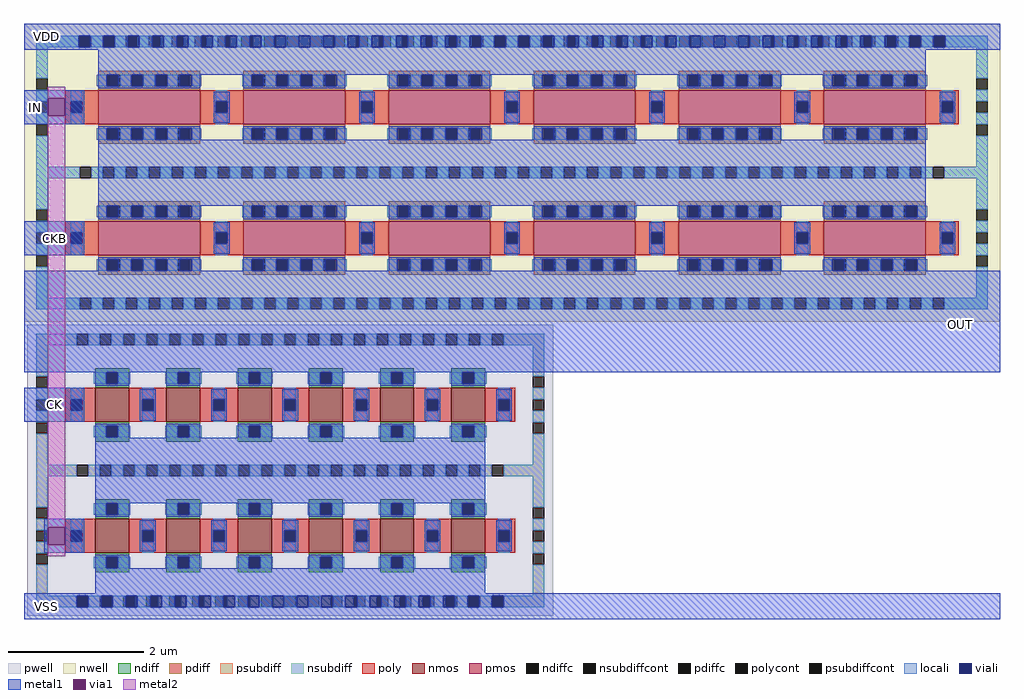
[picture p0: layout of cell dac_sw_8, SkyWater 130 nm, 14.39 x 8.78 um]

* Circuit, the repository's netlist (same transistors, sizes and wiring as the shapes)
** sch_path: /home/mthudaa/vlsi/8bit_SAR-ADC_ITS/xschem/dac_sw_8.sch
.subckt dac_sw_8 vdd in ck ckb vss out
*.PININFO vdd:I in:I ck:I ckb:I vss:I out:O
XM1 net1 in vdd vdd sky130_fd_pr__pfet_01v8 L=0.5 W=1.5 nf=1 m=6
XM2 out ckb net1 vdd sky130_fd_pr__pfet_01v8 L=0.5 W=1.5 nf=1 m=6
XM3 out ck net2 vss sky130_fd_pr__nfet_01v8 L=0.5 W=0.5 nf=1 m=6
XM4 net2 in vss vss sky130_fd_pr__nfet_01v8 L=0.5 W=0.5 nf=1 m=6
.ends
.end

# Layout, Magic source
magic
tech sky130A
magscale 1 2
<< locali >>
rect 238 1527 268 1561
rect 302 1527 340 1561
rect 374 1527 412 1561
rect 446 1527 484 1561
rect 518 1527 556 1561
rect 590 1527 628 1561
rect 662 1527 700 1561
rect 734 1527 772 1561
rect 806 1527 844 1561
rect 878 1527 916 1561
rect 950 1527 988 1561
rect 1022 1527 1060 1561
rect 1094 1527 1132 1561
rect 1166 1527 1204 1561
rect 1238 1527 1276 1561
rect 1310 1527 1348 1561
rect 1382 1527 1420 1561
rect 1454 1527 1492 1561
rect 1526 1527 1564 1561
rect 1598 1527 1636 1561
rect 1670 1527 1708 1561
rect 1742 1527 1780 1561
rect 1814 1527 1852 1561
rect 1886 1527 1924 1561
rect 1958 1527 1996 1561
rect 2030 1527 2068 1561
rect 2102 1527 2140 1561
rect 2174 1527 2212 1561
rect 2246 1527 2284 1561
rect 2318 1527 2356 1561
rect 2390 1527 2428 1561
rect 2462 1527 2500 1561
rect 2534 1527 2572 1561
rect 2606 1527 2644 1561
rect 2678 1527 2716 1561
rect 2750 1527 2788 1561
rect 2822 1527 2852 1561
rect 238 -123 262 -89
rect 296 -123 334 -89
rect 368 -123 406 -89
rect 440 -123 478 -89
rect 512 -123 550 -89
rect 584 -123 622 -89
rect 656 -123 694 -89
rect 728 -123 766 -89
rect 800 -123 838 -89
rect 872 -123 910 -89
rect 944 -123 982 -89
rect 1016 -123 1054 -89
rect 1088 -123 1126 -89
rect 1160 -123 1198 -89
rect 1232 -123 1270 -89
rect 1304 -123 1342 -89
rect 1376 -123 1414 -89
rect 1448 -123 1486 -89
rect 1520 -123 1544 -89
<< viali >>
rect 268 1527 302 1561
rect 340 1527 374 1561
rect 412 1527 446 1561
rect 484 1527 518 1561
rect 556 1527 590 1561
rect 628 1527 662 1561
rect 700 1527 734 1561
rect 772 1527 806 1561
rect 844 1527 878 1561
rect 916 1527 950 1561
rect 988 1527 1022 1561
rect 1060 1527 1094 1561
rect 1132 1527 1166 1561
rect 1204 1527 1238 1561
rect 1276 1527 1310 1561
rect 1348 1527 1382 1561
rect 1420 1527 1454 1561
rect 1492 1527 1526 1561
rect 1564 1527 1598 1561
rect 1636 1527 1670 1561
rect 1708 1527 1742 1561
rect 1780 1527 1814 1561
rect 1852 1527 1886 1561
rect 1924 1527 1958 1561
rect 1996 1527 2030 1561
rect 2068 1527 2102 1561
rect 2140 1527 2174 1561
rect 2212 1527 2246 1561
rect 2284 1527 2318 1561
rect 2356 1527 2390 1561
rect 2428 1527 2462 1561
rect 2500 1527 2534 1561
rect 2572 1527 2606 1561
rect 2644 1527 2678 1561
rect 2716 1527 2750 1561
rect 2788 1527 2822 1561
rect 262 -123 296 -89
rect 334 -123 368 -89
rect 406 -123 440 -89
rect 478 -123 512 -89
rect 550 -123 584 -89
rect 622 -123 656 -89
rect 694 -123 728 -89
rect 766 -123 800 -89
rect 838 -123 872 -89
rect 910 -123 944 -89
rect 982 -123 1016 -89
rect 1054 -123 1088 -89
rect 1126 -123 1160 -89
rect 1198 -123 1232 -89
rect 1270 -123 1304 -89
rect 1342 -123 1376 -89
rect 1414 -123 1448 -89
rect 1486 -123 1520 -89
<< metal1 >>
rect 106 1561 2984 1597
rect 106 1527 268 1561
rect 302 1527 340 1561
rect 374 1527 412 1561
rect 446 1527 484 1561
rect 518 1527 556 1561
rect 590 1527 628 1561
rect 662 1527 700 1561
rect 734 1527 772 1561
rect 806 1527 844 1561
rect 878 1527 916 1561
rect 950 1527 988 1561
rect 1022 1527 1060 1561
rect 1094 1527 1132 1561
rect 1166 1527 1204 1561
rect 1238 1527 1276 1561
rect 1310 1527 1348 1561
rect 1382 1527 1420 1561
rect 1454 1527 1492 1561
rect 1526 1527 1564 1561
rect 1598 1527 1636 1561
rect 1670 1527 1708 1561
rect 1742 1527 1780 1561
rect 1814 1527 1852 1561
rect 1886 1527 1924 1561
rect 1958 1527 1996 1561
rect 2030 1527 2068 1561
rect 2102 1527 2140 1561
rect 2174 1527 2212 1561
rect 2246 1527 2284 1561
rect 2318 1527 2356 1561
rect 2390 1527 2428 1561
rect 2462 1527 2500 1561
rect 2534 1527 2572 1561
rect 2606 1527 2644 1561
rect 2678 1527 2716 1561
rect 2750 1527 2788 1561
rect 2822 1527 2984 1561
rect 106 1521 2984 1527
rect 325 1447 2765 1521
rect 106 1377 284 1401
rect 106 1325 176 1377
rect 228 1325 284 1377
rect 106 1301 284 1325
rect 325 1061 2765 1255
rect 106 915 284 1015
rect 106 569 2984 869
rect 106 423 284 523
rect 316 183 1466 376
rect 166 113 284 137
rect 166 61 176 113
rect 228 61 284 113
rect 166 37 284 61
rect 316 -83 1466 -9
rect 106 -89 2984 -83
rect 106 -123 262 -89
rect 296 -123 334 -89
rect 368 -123 406 -89
rect 440 -123 478 -89
rect 512 -123 550 -89
rect 584 -123 622 -89
rect 656 -123 694 -89
rect 728 -123 766 -89
rect 800 -123 838 -89
rect 872 -123 910 -89
rect 944 -123 982 -89
rect 1016 -123 1054 -89
rect 1088 -123 1126 -89
rect 1160 -123 1198 -89
rect 1232 -123 1270 -89
rect 1304 -123 1342 -89
rect 1376 -123 1414 -89
rect 1448 -123 1486 -89
rect 1520 -123 2984 -89
rect 106 -159 2984 -123
<< via1 >>
rect 176 1325 228 1377
rect 176 61 228 113
<< metal2 >>
rect 176 1377 228 1411
rect 176 113 228 1325
rect 176 27 228 61
use sky130_fd_pr__nfet_01v8_54GLWN  sky130_fd_pr__nfet_01v8_54GLWN_0
transform 0 1 891 -1 0 87
box -236 -775 236 775
use sky130_fd_pr__pfet_01v8_NMY8JJ  sky130_fd_pr__pfet_01v8_NMY8JJ_0
transform 0 1 1545 -1 0 965
box -246 -1439 246 1439
use sky130_fd_pr__pfet_01v8_NMY8JJ  XM1
transform 0 1 1545 -1 0 1351
box -246 -1439 246 1439
use sky130_fd_pr__nfet_01v8_54GLWN  XM3
transform 0 1 891 -1 0 473
box -236 -775 236 775
<< labels >>
flabel metal1 s 106 1521 238 1597 0 FreeSans 500 0 0 0 VDD
port 1 nsew
flabel metal1 s 106 1301 176 1401 0 FreeSans 500 0 0 0 IN
port 2 nsew
flabel metal1 s 106 915 284 1015 0 FreeSans 500 0 0 0 CKB
port 3 nsew
flabel metal1 s 106 423 284 523 0 FreeSans 500 0 0 0 CK
port 4 nsew
flabel metal1 s 106 -159 238 -83 0 FreeSans 500 0 0 0 VSS
port 5 nsew
flabel metal1 s 2802 673 2934 749 0 FreeSans 500 0 0 0 OUT
port 6 nsew
<< end >>

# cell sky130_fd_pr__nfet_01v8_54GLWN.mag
magic
tech sky130A
magscale 1 2
<< pwell >>
rect -236 -775 236 775
<< nmos >>
rect -50 475 50 575
rect -50 265 50 365
rect -50 55 50 155
rect -50 -155 50 -55
rect -50 -365 50 -265
rect -50 -575 50 -475
<< ndiff >>
rect -108 542 -50 575
rect -108 508 -96 542
rect -62 508 -50 542
rect -108 475 -50 508
rect 50 542 108 575
rect 50 508 62 542
rect 96 508 108 542
rect 50 475 108 508
rect -108 332 -50 365
rect -108 298 -96 332
rect -62 298 -50 332
rect -108 265 -50 298
rect 50 332 108 365
rect 50 298 62 332
rect 96 298 108 332
rect 50 265 108 298
rect -108 122 -50 155
rect -108 88 -96 122
rect -62 88 -50 122
rect -108 55 -50 88
rect 50 122 108 155
rect 50 88 62 122
rect 96 88 108 122
rect 50 55 108 88
rect -108 -88 -50 -55
rect -108 -122 -96 -88
rect -62 -122 -50 -88
rect -108 -155 -50 -122
rect 50 -88 108 -55
rect 50 -122 62 -88
rect 96 -122 108 -88
rect 50 -155 108 -122
rect -108 -298 -50 -265
rect -108 -332 -96 -298
rect -62 -332 -50 -298
rect -108 -365 -50 -332
rect 50 -298 108 -265
rect 50 -332 62 -298
rect 96 -332 108 -298
rect 50 -365 108 -332
rect -108 -508 -50 -475
rect -108 -542 -96 -508
rect -62 -542 -50 -508
rect -108 -575 -50 -542
rect 50 -508 108 -475
rect 50 -542 62 -508
rect 96 -542 108 -508
rect 50 -575 108 -542
<< ndiffc >>
rect -96 508 -62 542
rect 62 508 96 542
rect -96 298 -62 332
rect 62 298 96 332
rect -96 88 -62 122
rect 62 88 96 122
rect -96 -122 -62 -88
rect 62 -122 96 -88
rect -96 -332 -62 -298
rect 62 -332 96 -298
rect -96 -542 -62 -508
rect 62 -542 96 -508
<< psubdiff >>
rect -210 715 -85 749
rect -51 715 -17 749
rect 17 715 51 749
rect 85 715 210 749
rect -210 629 -176 715
rect -210 561 -176 595
rect 176 629 210 715
rect -210 493 -176 527
rect 176 561 210 595
rect 176 493 210 527
rect -210 425 -176 459
rect -210 357 -176 391
rect 176 425 210 459
rect -210 289 -176 323
rect 176 357 210 391
rect 176 289 210 323
rect -210 221 -176 255
rect -210 153 -176 187
rect 176 221 210 255
rect -210 85 -176 119
rect 176 153 210 187
rect 176 85 210 119
rect -210 17 -176 51
rect -210 -51 -176 -17
rect 176 17 210 51
rect 176 -51 210 -17
rect -210 -119 -176 -85
rect -210 -187 -176 -153
rect 176 -119 210 -85
rect -210 -255 -176 -221
rect 176 -187 210 -153
rect 176 -255 210 -221
rect -210 -323 -176 -289
rect -210 -391 -176 -357
rect 176 -323 210 -289
rect -210 -459 -176 -425
rect 176 -391 210 -357
rect 176 -459 210 -425
rect -210 -527 -176 -493
rect -210 -595 -176 -561
rect 176 -527 210 -493
rect -210 -715 -176 -629
rect 176 -595 210 -561
rect 176 -715 210 -629
rect -210 -749 -85 -715
rect -51 -749 -17 -715
rect 17 -749 51 -715
rect 85 -749 210 -715
<< psubdiffcont >>
rect -85 715 -51 749
rect -17 715 17 749
rect 51 715 85 749
rect -210 595 -176 629
rect 176 595 210 629
rect -210 527 -176 561
rect -210 459 -176 493
rect 176 527 210 561
rect -210 391 -176 425
rect 176 459 210 493
rect 176 391 210 425
rect -210 323 -176 357
rect -210 255 -176 289
rect 176 323 210 357
rect -210 187 -176 221
rect 176 255 210 289
rect 176 187 210 221
rect -210 119 -176 153
rect -210 51 -176 85
rect 176 119 210 153
rect -210 -17 -176 17
rect -210 -85 -176 -51
rect 176 51 210 85
rect 176 -17 210 17
rect -210 -153 -176 -119
rect 176 -85 210 -51
rect 176 -153 210 -119
rect -210 -221 -176 -187
rect -210 -289 -176 -255
rect 176 -221 210 -187
rect -210 -357 -176 -323
rect 176 -289 210 -255
rect 176 -357 210 -323
rect -210 -425 -176 -391
rect -210 -493 -176 -459
rect 176 -425 210 -391
rect -210 -561 -176 -527
rect 176 -493 210 -459
rect 176 -561 210 -527
rect -210 -629 -176 -595
rect 176 -629 210 -595
rect -85 -749 -51 -715
rect -17 -749 17 -715
rect 51 -749 85 -715
<< poly >>
rect -50 647 50 663
rect -50 613 -17 647
rect 17 613 50 647
rect -50 575 50 613
rect -50 437 50 475
rect -50 403 -17 437
rect 17 403 50 437
rect -50 365 50 403
rect -50 227 50 265
rect -50 193 -17 227
rect 17 193 50 227
rect -50 155 50 193
rect -50 17 50 55
rect -50 -17 -17 17
rect 17 -17 50 17
rect -50 -55 50 -17
rect -50 -193 50 -155
rect -50 -227 -17 -193
rect 17 -227 50 -193
rect -50 -265 50 -227
rect -50 -403 50 -365
rect -50 -437 -17 -403
rect 17 -437 50 -403
rect -50 -475 50 -437
rect -50 -613 50 -575
rect -50 -647 -17 -613
rect 17 -647 50 -613
rect -50 -663 50 -647
<< polycont >>
rect -17 613 17 647
rect -17 403 17 437
rect -17 193 17 227
rect -17 -17 17 17
rect -17 -227 17 -193
rect -17 -437 17 -403
rect -17 -647 17 -613
<< locali >>
rect -210 715 -85 749
rect -51 715 -17 749
rect 17 715 51 749
rect 85 715 210 749
rect -210 629 -176 715
rect -50 613 -17 647
rect 17 613 50 647
rect 176 629 210 715
rect -210 561 -176 595
rect -210 493 -176 527
rect -96 542 -62 579
rect -96 471 -62 508
rect 62 542 96 579
rect 62 471 96 508
rect 176 561 210 595
rect 176 493 210 527
rect -210 425 -176 459
rect -50 403 -17 437
rect 17 403 50 437
rect 176 425 210 459
rect -210 357 -176 391
rect -210 289 -176 323
rect -96 332 -62 369
rect -96 261 -62 298
rect 62 332 96 369
rect 62 261 96 298
rect 176 357 210 391
rect 176 289 210 323
rect -210 221 -176 255
rect -50 193 -17 227
rect 17 193 50 227
rect 176 221 210 255
rect -210 153 -176 187
rect -210 85 -176 119
rect -96 122 -62 159
rect -96 51 -62 88
rect 62 122 96 159
rect 62 51 96 88
rect 176 153 210 187
rect 176 85 210 119
rect -210 17 -176 51
rect 176 17 210 51
rect -50 -17 -17 17
rect 17 -17 50 17
rect -210 -51 -176 -17
rect 176 -51 210 -17
rect -210 -119 -176 -85
rect -210 -187 -176 -153
rect -96 -88 -62 -51
rect -96 -159 -62 -122
rect 62 -88 96 -51
rect 62 -159 96 -122
rect 176 -119 210 -85
rect 176 -187 210 -153
rect -210 -255 -176 -221
rect -50 -227 -17 -193
rect 17 -227 50 -193
rect 176 -255 210 -221
rect -210 -323 -176 -289
rect -210 -391 -176 -357
rect -96 -298 -62 -261
rect -96 -369 -62 -332
rect 62 -298 96 -261
rect 62 -369 96 -332
rect 176 -323 210 -289
rect 176 -391 210 -357
rect -210 -459 -176 -425
rect -50 -437 -17 -403
rect 17 -437 50 -403
rect 176 -459 210 -425
rect -210 -527 -176 -493
rect -210 -595 -176 -561
rect -96 -508 -62 -471
rect -96 -579 -62 -542
rect 62 -508 96 -471
rect 62 -579 96 -542
rect 176 -527 210 -493
rect 176 -595 210 -561
rect -210 -715 -176 -629
rect -50 -647 -17 -613
rect 17 -647 50 -613
rect 176 -715 210 -629
rect -210 -749 -85 -715
rect -51 -749 -17 -715
rect 17 -749 51 -715
rect 85 -749 210 -715
<< viali >>
rect -17 613 17 647
rect -96 508 -62 542
rect 62 508 96 542
rect -17 403 17 437
rect -96 298 -62 332
rect 62 298 96 332
rect -17 193 17 227
rect -96 88 -62 122
rect 62 88 96 122
rect -17 -17 17 17
rect -96 -122 -62 -88
rect 62 -122 96 -88
rect -17 -227 17 -193
rect -96 -332 -62 -298
rect 62 -332 96 -298
rect -17 -437 17 -403
rect -96 -542 -62 -508
rect 62 -542 96 -508
rect -17 -647 17 -613
<< metal1 >>
rect -46 647 46 653
rect -46 613 -17 647
rect 17 613 46 647
rect -46 607 46 613
rect -102 542 -56 575
rect -102 508 -96 542
rect -62 508 -56 542
rect -102 475 -56 508
rect 56 542 102 575
rect 56 508 62 542
rect 96 508 102 542
rect 56 475 102 508
rect -46 437 46 443
rect -46 403 -17 437
rect 17 403 46 437
rect -46 397 46 403
rect -102 332 -56 365
rect -102 298 -96 332
rect -62 298 -56 332
rect -102 265 -56 298
rect 56 332 102 365
rect 56 298 62 332
rect 96 298 102 332
rect 56 265 102 298
rect -46 227 46 233
rect -46 193 -17 227
rect 17 193 46 227
rect -46 187 46 193
rect -102 122 -56 155
rect -102 88 -96 122
rect -62 88 -56 122
rect -102 55 -56 88
rect 56 122 102 155
rect 56 88 62 122
rect 96 88 102 122
rect 56 55 102 88
rect -46 17 46 23
rect -46 -17 -17 17
rect 17 -17 46 17
rect -46 -23 46 -17
rect -102 -88 -56 -55
rect -102 -122 -96 -88
rect -62 -122 -56 -88
rect -102 -155 -56 -122
rect 56 -88 102 -55
rect 56 -122 62 -88
rect 96 -122 102 -88
rect 56 -155 102 -122
rect -46 -193 46 -187
rect -46 -227 -17 -193
rect 17 -227 46 -193
rect -46 -233 46 -227
rect -102 -298 -56 -265
rect -102 -332 -96 -298
rect -62 -332 -56 -298
rect -102 -365 -56 -332
rect 56 -298 102 -265
rect 56 -332 62 -298
rect 96 -332 102 -298
rect 56 -365 102 -332
rect -46 -403 46 -397
rect -46 -437 -17 -403
rect 17 -437 46 -403
rect -46 -443 46 -437
rect -102 -508 -56 -475
rect -102 -542 -96 -508
rect -62 -542 -56 -508
rect -102 -575 -56 -542
rect 56 -508 102 -475
rect 56 -542 62 -508
rect 96 -542 102 -508
rect 56 -575 102 -542
rect -46 -613 46 -607
rect -46 -647 -17 -613
rect 17 -647 46 -613
rect -46 -653 46 -647
<< properties >>
string FIXED_BBOX -193 -732 193 732
<< end >>

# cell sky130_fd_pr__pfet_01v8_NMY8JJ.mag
magic
tech sky130A
magscale 1 2
<< nwell >>
rect -246 -1439 246 1439
<< pmos >>
rect -50 920 50 1220
rect -50 492 50 792
rect -50 64 50 364
rect -50 -364 50 -64
rect -50 -792 50 -492
rect -50 -1220 50 -920
<< pdiff >>
rect -108 1189 -50 1220
rect -108 1155 -96 1189
rect -62 1155 -50 1189
rect -108 1121 -50 1155
rect -108 1087 -96 1121
rect -62 1087 -50 1121
rect -108 1053 -50 1087
rect -108 1019 -96 1053
rect -62 1019 -50 1053
rect -108 985 -50 1019
rect -108 951 -96 985
rect -62 951 -50 985
rect -108 920 -50 951
rect 50 1189 108 1220
rect 50 1155 62 1189
rect 96 1155 108 1189
rect 50 1121 108 1155
rect 50 1087 62 1121
rect 96 1087 108 1121
rect 50 1053 108 1087
rect 50 1019 62 1053
rect 96 1019 108 1053
rect 50 985 108 1019
rect 50 951 62 985
rect 96 951 108 985
rect 50 920 108 951
rect -108 761 -50 792
rect -108 727 -96 761
rect -62 727 -50 761
rect -108 693 -50 727
rect -108 659 -96 693
rect -62 659 -50 693
rect -108 625 -50 659
rect -108 591 -96 625
rect -62 591 -50 625
rect -108 557 -50 591
rect -108 523 -96 557
rect -62 523 -50 557
rect -108 492 -50 523
rect 50 761 108 792
rect 50 727 62 761
rect 96 727 108 761
rect 50 693 108 727
rect 50 659 62 693
rect 96 659 108 693
rect 50 625 108 659
rect 50 591 62 625
rect 96 591 108 625
rect 50 557 108 591
rect 50 523 62 557
rect 96 523 108 557
rect 50 492 108 523
rect -108 333 -50 364
rect -108 299 -96 333
rect -62 299 -50 333
rect -108 265 -50 299
rect -108 231 -96 265
rect -62 231 -50 265
rect -108 197 -50 231
rect -108 163 -96 197
rect -62 163 -50 197
rect -108 129 -50 163
rect -108 95 -96 129
rect -62 95 -50 129
rect -108 64 -50 95
rect 50 333 108 364
rect 50 299 62 333
rect 96 299 108 333
rect 50 265 108 299
rect 50 231 62 265
rect 96 231 108 265
rect 50 197 108 231
rect 50 163 62 197
rect 96 163 108 197
rect 50 129 108 163
rect 50 95 62 129
rect 96 95 108 129
rect 50 64 108 95
rect -108 -95 -50 -64
rect -108 -129 -96 -95
rect -62 -129 -50 -95
rect -108 -163 -50 -129
rect -108 -197 -96 -163
rect -62 -197 -50 -163
rect -108 -231 -50 -197
rect -108 -265 -96 -231
rect -62 -265 -50 -231
rect -108 -299 -50 -265
rect -108 -333 -96 -299
rect -62 -333 -50 -299
rect -108 -364 -50 -333
rect 50 -95 108 -64
rect 50 -129 62 -95
rect 96 -129 108 -95
rect 50 -163 108 -129
rect 50 -197 62 -163
rect 96 -197 108 -163
rect 50 -231 108 -197
rect 50 -265 62 -231
rect 96 -265 108 -231
rect 50 -299 108 -265
rect 50 -333 62 -299
rect 96 -333 108 -299
rect 50 -364 108 -333
rect -108 -523 -50 -492
rect -108 -557 -96 -523
rect -62 -557 -50 -523
rect -108 -591 -50 -557
rect -108 -625 -96 -591
rect -62 -625 -50 -591
rect -108 -659 -50 -625
rect -108 -693 -96 -659
rect -62 -693 -50 -659
rect -108 -727 -50 -693
rect -108 -761 -96 -727
rect -62 -761 -50 -727
rect -108 -792 -50 -761
rect 50 -523 108 -492
rect 50 -557 62 -523
rect 96 -557 108 -523
rect 50 -591 108 -557
rect 50 -625 62 -591
rect 96 -625 108 -591
rect 50 -659 108 -625
rect 50 -693 62 -659
rect 96 -693 108 -659
rect 50 -727 108 -693
rect 50 -761 62 -727
rect 96 -761 108 -727
rect 50 -792 108 -761
rect -108 -951 -50 -920
rect -108 -985 -96 -951
rect -62 -985 -50 -951
rect -108 -1019 -50 -985
rect -108 -1053 -96 -1019
rect -62 -1053 -50 -1019
rect -108 -1087 -50 -1053
rect -108 -1121 -96 -1087
rect -62 -1121 -50 -1087
rect -108 -1155 -50 -1121
rect -108 -1189 -96 -1155
rect -62 -1189 -50 -1155
rect -108 -1220 -50 -1189
rect 50 -951 108 -920
rect 50 -985 62 -951
rect 96 -985 108 -951
rect 50 -1019 108 -985
rect 50 -1053 62 -1019
rect 96 -1053 108 -1019
rect 50 -1087 108 -1053
rect 50 -1121 62 -1087
rect 96 -1121 108 -1087
rect 50 -1155 108 -1121
rect 50 -1189 62 -1155
rect 96 -1189 108 -1155
rect 50 -1220 108 -1189
<< pdiffc >>
rect -96 1155 -62 1189
rect -96 1087 -62 1121
rect -96 1019 -62 1053
rect -96 951 -62 985
rect 62 1155 96 1189
rect 62 1087 96 1121
rect 62 1019 96 1053
rect 62 951 96 985
rect -96 727 -62 761
rect -96 659 -62 693
rect -96 591 -62 625
rect -96 523 -62 557
rect 62 727 96 761
rect 62 659 96 693
rect 62 591 96 625
rect 62 523 96 557
rect -96 299 -62 333
rect -96 231 -62 265
rect -96 163 -62 197
rect -96 95 -62 129
rect 62 299 96 333
rect 62 231 96 265
rect 62 163 96 197
rect 62 95 96 129
rect -96 -129 -62 -95
rect -96 -197 -62 -163
rect -96 -265 -62 -231
rect -96 -333 -62 -299
rect 62 -129 96 -95
rect 62 -197 96 -163
rect 62 -265 96 -231
rect 62 -333 96 -299
rect -96 -557 -62 -523
rect -96 -625 -62 -591
rect -96 -693 -62 -659
rect -96 -761 -62 -727
rect 62 -557 96 -523
rect 62 -625 96 -591
rect 62 -693 96 -659
rect 62 -761 96 -727
rect -96 -985 -62 -951
rect -96 -1053 -62 -1019
rect -96 -1121 -62 -1087
rect -96 -1189 -62 -1155
rect 62 -985 96 -951
rect 62 -1053 96 -1019
rect 62 -1121 96 -1087
rect 62 -1189 96 -1155
<< nsubdiff >>
rect -210 1369 -85 1403
rect -51 1369 -17 1403
rect 17 1369 51 1403
rect 85 1369 210 1403
rect -210 1275 -176 1369
rect -210 1207 -176 1241
rect 176 1275 210 1369
rect -210 1139 -176 1173
rect -210 1071 -176 1105
rect -210 1003 -176 1037
rect -210 935 -176 969
rect 176 1207 210 1241
rect 176 1139 210 1173
rect 176 1071 210 1105
rect 176 1003 210 1037
rect 176 935 210 969
rect -210 867 -176 901
rect -210 799 -176 833
rect 176 867 210 901
rect 176 799 210 833
rect -210 731 -176 765
rect -210 663 -176 697
rect -210 595 -176 629
rect -210 527 -176 561
rect -210 459 -176 493
rect 176 731 210 765
rect 176 663 210 697
rect 176 595 210 629
rect 176 527 210 561
rect -210 391 -176 425
rect 176 459 210 493
rect 176 391 210 425
rect -210 323 -176 357
rect -210 255 -176 289
rect -210 187 -176 221
rect -210 119 -176 153
rect -210 51 -176 85
rect 176 323 210 357
rect 176 255 210 289
rect 176 187 210 221
rect 176 119 210 153
rect -210 -17 -176 17
rect -210 -85 -176 -51
rect 176 51 210 85
rect 176 -17 210 17
rect -210 -153 -176 -119
rect -210 -221 -176 -187
rect -210 -289 -176 -255
rect -210 -357 -176 -323
rect 176 -85 210 -51
rect 176 -153 210 -119
rect 176 -221 210 -187
rect 176 -289 210 -255
rect 176 -357 210 -323
rect -210 -425 -176 -391
rect -210 -493 -176 -459
rect 176 -425 210 -391
rect -210 -561 -176 -527
rect -210 -629 -176 -595
rect -210 -697 -176 -663
rect -210 -765 -176 -731
rect 176 -493 210 -459
rect 176 -561 210 -527
rect 176 -629 210 -595
rect 176 -697 210 -663
rect 176 -765 210 -731
rect -210 -833 -176 -799
rect -210 -901 -176 -867
rect 176 -833 210 -799
rect 176 -901 210 -867
rect -210 -969 -176 -935
rect -210 -1037 -176 -1003
rect -210 -1105 -176 -1071
rect -210 -1173 -176 -1139
rect -210 -1241 -176 -1207
rect 176 -969 210 -935
rect 176 -1037 210 -1003
rect 176 -1105 210 -1071
rect 176 -1173 210 -1139
rect -210 -1369 -176 -1275
rect 176 -1241 210 -1207
rect 176 -1369 210 -1275
rect -210 -1403 -85 -1369
rect -51 -1403 -17 -1369
rect 17 -1403 51 -1369
rect 85 -1403 210 -1369
<< nsubdiffcont >>
rect -85 1369 -51 1403
rect -17 1369 17 1403
rect 51 1369 85 1403
rect -210 1241 -176 1275
rect 176 1241 210 1275
rect -210 1173 -176 1207
rect -210 1105 -176 1139
rect -210 1037 -176 1071
rect -210 969 -176 1003
rect -210 901 -176 935
rect 176 1173 210 1207
rect 176 1105 210 1139
rect 176 1037 210 1071
rect 176 969 210 1003
rect -210 833 -176 867
rect -210 765 -176 799
rect 176 901 210 935
rect 176 833 210 867
rect -210 697 -176 731
rect -210 629 -176 663
rect -210 561 -176 595
rect -210 493 -176 527
rect 176 765 210 799
rect 176 697 210 731
rect 176 629 210 663
rect 176 561 210 595
rect 176 493 210 527
rect -210 425 -176 459
rect -210 357 -176 391
rect 176 425 210 459
rect -210 289 -176 323
rect -210 221 -176 255
rect -210 153 -176 187
rect -210 85 -176 119
rect 176 357 210 391
rect 176 289 210 323
rect 176 221 210 255
rect 176 153 210 187
rect 176 85 210 119
rect -210 17 -176 51
rect -210 -51 -176 -17
rect 176 17 210 51
rect 176 -51 210 -17
rect -210 -119 -176 -85
rect -210 -187 -176 -153
rect -210 -255 -176 -221
rect -210 -323 -176 -289
rect -210 -391 -176 -357
rect 176 -119 210 -85
rect 176 -187 210 -153
rect 176 -255 210 -221
rect 176 -323 210 -289
rect -210 -459 -176 -425
rect 176 -391 210 -357
rect 176 -459 210 -425
rect -210 -527 -176 -493
rect -210 -595 -176 -561
rect -210 -663 -176 -629
rect -210 -731 -176 -697
rect -210 -799 -176 -765
rect 176 -527 210 -493
rect 176 -595 210 -561
rect 176 -663 210 -629
rect 176 -731 210 -697
rect -210 -867 -176 -833
rect -210 -935 -176 -901
rect 176 -799 210 -765
rect 176 -867 210 -833
rect -210 -1003 -176 -969
rect -210 -1071 -176 -1037
rect -210 -1139 -176 -1105
rect -210 -1207 -176 -1173
rect 176 -935 210 -901
rect 176 -1003 210 -969
rect 176 -1071 210 -1037
rect 176 -1139 210 -1105
rect 176 -1207 210 -1173
rect -210 -1275 -176 -1241
rect 176 -1275 210 -1241
rect -85 -1403 -51 -1369
rect -17 -1403 17 -1369
rect 51 -1403 85 -1369
<< poly >>
rect -50 1301 50 1317
rect -50 1267 -17 1301
rect 17 1267 50 1301
rect -50 1220 50 1267
rect -50 873 50 920
rect -50 839 -17 873
rect 17 839 50 873
rect -50 792 50 839
rect -50 445 50 492
rect -50 411 -17 445
rect 17 411 50 445
rect -50 364 50 411
rect -50 17 50 64
rect -50 -17 -17 17
rect 17 -17 50 17
rect -50 -64 50 -17
rect -50 -411 50 -364
rect -50 -445 -17 -411
rect 17 -445 50 -411
rect -50 -492 50 -445
rect -50 -839 50 -792
rect -50 -873 -17 -839
rect 17 -873 50 -839
rect -50 -920 50 -873
rect -50 -1267 50 -1220
rect -50 -1301 -17 -1267
rect 17 -1301 50 -1267
rect -50 -1317 50 -1301
<< polycont >>
rect -17 1267 17 1301
rect -17 839 17 873
rect -17 411 17 445
rect -17 -17 17 17
rect -17 -445 17 -411
rect -17 -873 17 -839
rect -17 -1301 17 -1267
<< locali >>
rect -210 1369 -85 1403
rect -51 1369 -17 1403
rect 17 1369 51 1403
rect 85 1369 210 1403
rect -210 1275 -176 1369
rect -50 1267 -17 1301
rect 17 1267 50 1301
rect 176 1275 210 1369
rect -210 1207 -176 1241
rect -210 1139 -176 1173
rect -210 1071 -176 1105
rect -210 1003 -176 1037
rect -210 935 -176 969
rect -96 1195 -62 1224
rect -96 1123 -62 1155
rect -96 1053 -62 1087
rect -96 985 -62 1017
rect -96 916 -62 945
rect 62 1195 96 1224
rect 62 1123 96 1155
rect 62 1053 96 1087
rect 62 985 96 1017
rect 62 916 96 945
rect 176 1207 210 1241
rect 176 1139 210 1173
rect 176 1071 210 1105
rect 176 1003 210 1037
rect 176 935 210 969
rect -210 867 -176 901
rect -50 839 -17 873
rect 17 839 50 873
rect 176 867 210 901
rect -210 799 -176 833
rect 176 799 210 833
rect -210 731 -176 765
rect -210 663 -176 697
rect -210 595 -176 629
rect -210 527 -176 561
rect -210 459 -176 493
rect -96 767 -62 796
rect -96 695 -62 727
rect -96 625 -62 659
rect -96 557 -62 589
rect -96 488 -62 517
rect 62 767 96 796
rect 62 695 96 727
rect 62 625 96 659
rect 62 557 96 589
rect 62 488 96 517
rect 176 731 210 765
rect 176 663 210 697
rect 176 595 210 629
rect 176 527 210 561
rect 176 459 210 493
rect -210 391 -176 425
rect -50 411 -17 445
rect 17 411 50 445
rect 176 391 210 425
rect -210 323 -176 357
rect -210 255 -176 289
rect -210 187 -176 221
rect -210 119 -176 153
rect -210 51 -176 85
rect -96 339 -62 368
rect -96 267 -62 299
rect -96 197 -62 231
rect -96 129 -62 161
rect -96 60 -62 89
rect 62 339 96 368
rect 62 267 96 299
rect 62 197 96 231
rect 62 129 96 161
rect 62 60 96 89
rect 176 323 210 357
rect 176 255 210 289
rect 176 187 210 221
rect 176 119 210 153
rect 176 51 210 85
rect -210 -17 -176 17
rect -50 -17 -17 17
rect 17 -17 50 17
rect 176 -17 210 17
rect -210 -85 -176 -51
rect -210 -153 -176 -119
rect -210 -221 -176 -187
rect -210 -289 -176 -255
rect -210 -357 -176 -323
rect -96 -89 -62 -60
rect -96 -161 -62 -129
rect -96 -231 -62 -197
rect -96 -299 -62 -267
rect -96 -368 -62 -339
rect 62 -89 96 -60
rect 62 -161 96 -129
rect 62 -231 96 -197
rect 62 -299 96 -267
rect 62 -368 96 -339
rect 176 -85 210 -51
rect 176 -153 210 -119
rect 176 -221 210 -187
rect 176 -289 210 -255
rect 176 -357 210 -323
rect -210 -425 -176 -391
rect -50 -445 -17 -411
rect 17 -445 50 -411
rect 176 -425 210 -391
rect -210 -493 -176 -459
rect -210 -561 -176 -527
rect -210 -629 -176 -595
rect -210 -697 -176 -663
rect -210 -765 -176 -731
rect -96 -517 -62 -488
rect -96 -589 -62 -557
rect -96 -659 -62 -625
rect -96 -727 -62 -695
rect -96 -796 -62 -767
rect 62 -517 96 -488
rect 62 -589 96 -557
rect 62 -659 96 -625
rect 62 -727 96 -695
rect 62 -796 96 -767
rect 176 -493 210 -459
rect 176 -561 210 -527
rect 176 -629 210 -595
rect 176 -697 210 -663
rect 176 -765 210 -731
rect -210 -833 -176 -799
rect 176 -833 210 -799
rect -210 -901 -176 -867
rect -50 -873 -17 -839
rect 17 -873 50 -839
rect 176 -901 210 -867
rect -210 -969 -176 -935
rect -210 -1037 -176 -1003
rect -210 -1105 -176 -1071
rect -210 -1173 -176 -1139
rect -210 -1241 -176 -1207
rect -96 -945 -62 -916
rect -96 -1017 -62 -985
rect -96 -1087 -62 -1053
rect -96 -1155 -62 -1123
rect -96 -1224 -62 -1195
rect 62 -945 96 -916
rect 62 -1017 96 -985
rect 62 -1087 96 -1053
rect 62 -1155 96 -1123
rect 62 -1224 96 -1195
rect 176 -969 210 -935
rect 176 -1037 210 -1003
rect 176 -1105 210 -1071
rect 176 -1173 210 -1139
rect 176 -1241 210 -1207
rect -210 -1369 -176 -1275
rect -50 -1301 -17 -1267
rect 17 -1301 50 -1267
rect 176 -1369 210 -1275
rect -210 -1403 -85 -1369
rect -51 -1403 -17 -1369
rect 17 -1403 51 -1369
rect 85 -1403 210 -1369
<< viali >>
rect -17 1267 17 1301
rect -96 1189 -62 1195
rect -96 1161 -62 1189
rect -96 1121 -62 1123
rect -96 1089 -62 1121
rect -96 1019 -62 1051
rect -96 1017 -62 1019
rect -96 951 -62 979
rect -96 945 -62 951
rect 62 1189 96 1195
rect 62 1161 96 1189
rect 62 1121 96 1123
rect 62 1089 96 1121
rect 62 1019 96 1051
rect 62 1017 96 1019
rect 62 951 96 979
rect 62 945 96 951
rect -17 839 17 873
rect -96 761 -62 767
rect -96 733 -62 761
rect -96 693 -62 695
rect -96 661 -62 693
rect -96 591 -62 623
rect -96 589 -62 591
rect -96 523 -62 551
rect -96 517 -62 523
rect 62 761 96 767
rect 62 733 96 761
rect 62 693 96 695
rect 62 661 96 693
rect 62 591 96 623
rect 62 589 96 591
rect 62 523 96 551
rect 62 517 96 523
rect -17 411 17 445
rect -96 333 -62 339
rect -96 305 -62 333
rect -96 265 -62 267
rect -96 233 -62 265
rect -96 163 -62 195
rect -96 161 -62 163
rect -96 95 -62 123
rect -96 89 -62 95
rect 62 333 96 339
rect 62 305 96 333
rect 62 265 96 267
rect 62 233 96 265
rect 62 163 96 195
rect 62 161 96 163
rect 62 95 96 123
rect 62 89 96 95
rect -17 -17 17 17
rect -96 -95 -62 -89
rect -96 -123 -62 -95
rect -96 -163 -62 -161
rect -96 -195 -62 -163
rect -96 -265 -62 -233
rect -96 -267 -62 -265
rect -96 -333 -62 -305
rect -96 -339 -62 -333
rect 62 -95 96 -89
rect 62 -123 96 -95
rect 62 -163 96 -161
rect 62 -195 96 -163
rect 62 -265 96 -233
rect 62 -267 96 -265
rect 62 -333 96 -305
rect 62 -339 96 -333
rect -17 -445 17 -411
rect -96 -523 -62 -517
rect -96 -551 -62 -523
rect -96 -591 -62 -589
rect -96 -623 -62 -591
rect -96 -693 -62 -661
rect -96 -695 -62 -693
rect -96 -761 -62 -733
rect -96 -767 -62 -761
rect 62 -523 96 -517
rect 62 -551 96 -523
rect 62 -591 96 -589
rect 62 -623 96 -591
rect 62 -693 96 -661
rect 62 -695 96 -693
rect 62 -761 96 -733
rect 62 -767 96 -761
rect -17 -873 17 -839
rect -96 -951 -62 -945
rect -96 -979 -62 -951
rect -96 -1019 -62 -1017
rect -96 -1051 -62 -1019
rect -96 -1121 -62 -1089
rect -96 -1123 -62 -1121
rect -96 -1189 -62 -1161
rect -96 -1195 -62 -1189
rect 62 -951 96 -945
rect 62 -979 96 -951
rect 62 -1019 96 -1017
rect 62 -1051 96 -1019
rect 62 -1121 96 -1089
rect 62 -1123 96 -1121
rect 62 -1189 96 -1161
rect 62 -1195 96 -1189
rect -17 -1301 17 -1267
<< metal1 >>
rect -46 1301 46 1307
rect -46 1267 -17 1301
rect 17 1267 46 1301
rect -46 1261 46 1267
rect -102 1195 -56 1220
rect -102 1161 -96 1195
rect -62 1161 -56 1195
rect -102 1123 -56 1161
rect -102 1089 -96 1123
rect -62 1089 -56 1123
rect -102 1051 -56 1089
rect -102 1017 -96 1051
rect -62 1017 -56 1051
rect -102 979 -56 1017
rect -102 945 -96 979
rect -62 945 -56 979
rect -102 920 -56 945
rect 56 1195 102 1220
rect 56 1161 62 1195
rect 96 1161 102 1195
rect 56 1123 102 1161
rect 56 1089 62 1123
rect 96 1089 102 1123
rect 56 1051 102 1089
rect 56 1017 62 1051
rect 96 1017 102 1051
rect 56 979 102 1017
rect 56 945 62 979
rect 96 945 102 979
rect 56 920 102 945
rect -46 873 46 879
rect -46 839 -17 873
rect 17 839 46 873
rect -46 833 46 839
rect -102 767 -56 792
rect -102 733 -96 767
rect -62 733 -56 767
rect -102 695 -56 733
rect -102 661 -96 695
rect -62 661 -56 695
rect -102 623 -56 661
rect -102 589 -96 623
rect -62 589 -56 623
rect -102 551 -56 589
rect -102 517 -96 551
rect -62 517 -56 551
rect -102 492 -56 517
rect 56 767 102 792
rect 56 733 62 767
rect 96 733 102 767
rect 56 695 102 733
rect 56 661 62 695
rect 96 661 102 695
rect 56 623 102 661
rect 56 589 62 623
rect 96 589 102 623
rect 56 551 102 589
rect 56 517 62 551
rect 96 517 102 551
rect 56 492 102 517
rect -46 445 46 451
rect -46 411 -17 445
rect 17 411 46 445
rect -46 405 46 411
rect -102 339 -56 364
rect -102 305 -96 339
rect -62 305 -56 339
rect -102 267 -56 305
rect -102 233 -96 267
rect -62 233 -56 267
rect -102 195 -56 233
rect -102 161 -96 195
rect -62 161 -56 195
rect -102 123 -56 161
rect -102 89 -96 123
rect -62 89 -56 123
rect -102 64 -56 89
rect 56 339 102 364
rect 56 305 62 339
rect 96 305 102 339
rect 56 267 102 305
rect 56 233 62 267
rect 96 233 102 267
rect 56 195 102 233
rect 56 161 62 195
rect 96 161 102 195
rect 56 123 102 161
rect 56 89 62 123
rect 96 89 102 123
rect 56 64 102 89
rect -46 17 46 23
rect -46 -17 -17 17
rect 17 -17 46 17
rect -46 -23 46 -17
rect -102 -89 -56 -64
rect -102 -123 -96 -89
rect -62 -123 -56 -89
rect -102 -161 -56 -123
rect -102 -195 -96 -161
rect -62 -195 -56 -161
rect -102 -233 -56 -195
rect -102 -267 -96 -233
rect -62 -267 -56 -233
rect -102 -305 -56 -267
rect -102 -339 -96 -305
rect -62 -339 -56 -305
rect -102 -364 -56 -339
rect 56 -89 102 -64
rect 56 -123 62 -89
rect 96 -123 102 -89
rect 56 -161 102 -123
rect 56 -195 62 -161
rect 96 -195 102 -161
rect 56 -233 102 -195
rect 56 -267 62 -233
rect 96 -267 102 -233
rect 56 -305 102 -267
rect 56 -339 62 -305
rect 96 -339 102 -305
rect 56 -364 102 -339
rect -46 -411 46 -405
rect -46 -445 -17 -411
rect 17 -445 46 -411
rect -46 -451 46 -445
rect -102 -517 -56 -492
rect -102 -551 -96 -517
rect -62 -551 -56 -517
rect -102 -589 -56 -551
rect -102 -623 -96 -589
rect -62 -623 -56 -589
rect -102 -661 -56 -623
rect -102 -695 -96 -661
rect -62 -695 -56 -661
rect -102 -733 -56 -695
rect -102 -767 -96 -733
rect -62 -767 -56 -733
rect -102 -792 -56 -767
rect 56 -517 102 -492
rect 56 -551 62 -517
rect 96 -551 102 -517
rect 56 -589 102 -551
rect 56 -623 62 -589
rect 96 -623 102 -589
rect 56 -661 102 -623
rect 56 -695 62 -661
rect 96 -695 102 -661
rect 56 -733 102 -695
rect 56 -767 62 -733
rect 96 -767 102 -733
rect 56 -792 102 -767
rect -46 -839 46 -833
rect -46 -873 -17 -839
rect 17 -873 46 -839
rect -46 -879 46 -873
rect -102 -945 -56 -920
rect -102 -979 -96 -945
rect -62 -979 -56 -945
rect -102 -1017 -56 -979
rect -102 -1051 -96 -1017
rect -62 -1051 -56 -1017
rect -102 -1089 -56 -1051
rect -102 -1123 -96 -1089
rect -62 -1123 -56 -1089
rect -102 -1161 -56 -1123
rect -102 -1195 -96 -1161
rect -62 -1195 -56 -1161
rect -102 -1220 -56 -1195
rect 56 -945 102 -920
rect 56 -979 62 -945
rect 96 -979 102 -945
rect 56 -1017 102 -979
rect 56 -1051 62 -1017
rect 96 -1051 102 -1017
rect 56 -1089 102 -1051
rect 56 -1123 62 -1089
rect 96 -1123 102 -1089
rect 56 -1161 102 -1123
rect 56 -1195 62 -1161
rect 96 -1195 102 -1161
rect 56 -1220 102 -1195
rect -46 -1267 46 -1261
rect -46 -1301 -17 -1267
rect 17 -1301 46 -1267
rect -46 -1307 46 -1301
<< properties >>
string FIXED_BBOX -193 -1386 193 1386
<< end >>
